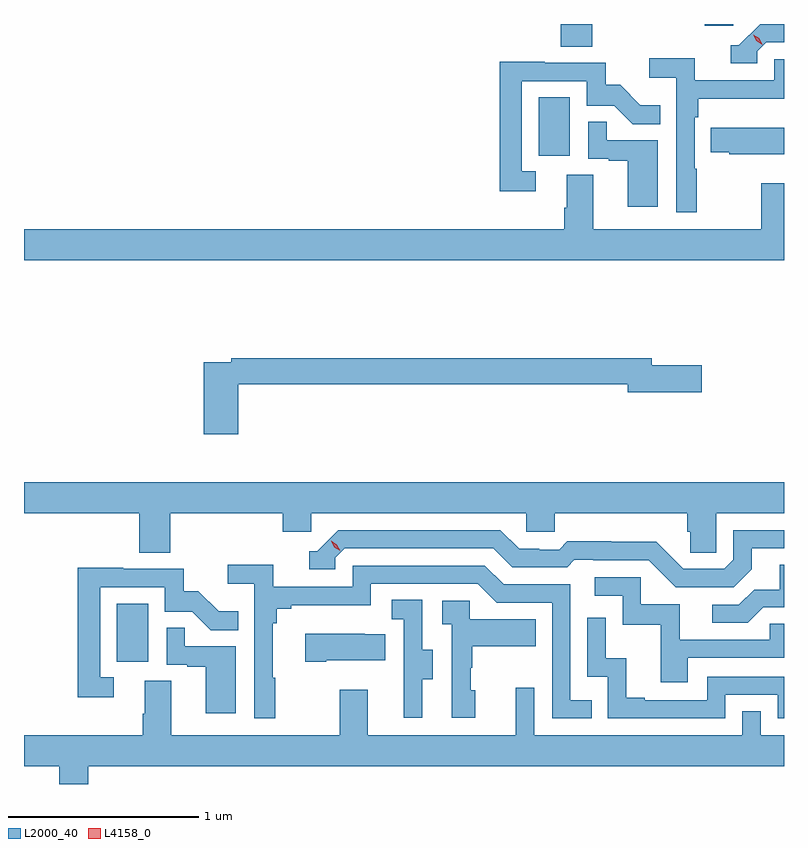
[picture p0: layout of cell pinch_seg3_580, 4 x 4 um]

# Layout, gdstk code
import gdstk
lib = gdstk.Library(unit=1e-6, precision=1e-09)
def R(c, l, rs):  # rectangles x0, y0, x1, y1
    for r in rs: c.add(gdstk.rectangle(r[:2], r[2:], *l))
def P(c, l, *ps):  # polygons
    for p in ps: c.add(gdstk.Polygon(p, *l))
L2000_40 = (2000, 40)
L4158_0 = (4158, 0)

pinch_seg3_580 = lib.new_cell('pinch_seg3_580')
R(pinch_seg3_580, L2000_40, [(1020.02,689.478,1020.184,689.785), (1022.24,692.142,1022.404,692.449), (1022.357,692.716,1022.522,692.835), (1023.113,692.826,1023.264,692.835)])
P(pinch_seg3_580, L2000_40, [(1023.39,692.691),(1023.438,692.739),(1023.531,692.739),(1023.531,692.835),(1023.405,692.835),(1023.294,692.724),(1023.251,692.724),(1023.251,692.628),(1023.39,692.628)],
  [(1023.073,692.072),(1023.06,692.072),(1023.06,692.345),(1023.08,692.345),(1023.08,692.441),(1023.531,692.441),(1023.531,692.649),(1023.48,692.649),(1023.48,692.538),(1023.062,692.538),(1023.062,692.654),(1022.823,692.654),(1022.823,692.552),(1022.964,692.552),(1022.964,691.845),(1023.073,691.845)],
  [(1022.224,692.061),(1022.151,692.061),(1022.151,692.535),(1022.493,692.535),(1022.493,692.406),(1022.637,692.406),(1022.735,692.308),(1022.879,692.308),(1022.879,692.407),(1022.775,692.407),(1022.668,692.514),(1022.592,692.514),(1022.592,692.631),(1022.273,692.631),(1022.273,692.636),(1022.035,692.636),(1022.035,691.956),(1022.224,691.956)],
  [(1022.866,692.223),(1022.597,692.223),(1022.597,692.321),(1022.502,692.321),(1022.502,692.127),(1022.609,692.127),(1022.609,692.115),(1022.708,692.115),(1022.708,691.872),(1022.866,691.872)],
  [(1023.531,692.29),(1023.145,692.29),(1023.145,692.161),(1023.243,692.161),(1023.243,692.15),(1023.531,692.15)],
  [(1023.531,691.996),(1023.412,691.996),(1023.412,691.756),(1022.527,691.756),(1022.527,692.042),(1022.387,692.042),(1022.387,691.868),(1022.375,691.868),(1022.375,691.756),(1019.531,691.756),(1019.531,691.592),(1023.531,691.592)],
  [(1020.659,690.94),(1022.708,690.94),(1022.708,690.898),(1023.097,690.898),(1023.097,691.04),(1022.836,691.04),(1022.836,691.076),(1020.622,691.076),(1020.622,691.056),(1020.476,691.056),(1020.476,690.675),(1020.659,690.675)],
  [(1020.302,690.26),(1020.893,690.26),(1020.893,690.162),(1021.044,690.162),(1021.044,690.26),(1022.175,690.26),(1022.175,690.162),(1022.325,690.162),(1022.325,690.26),(1023.023,690.26),(1023.023,690.162),(1023.037,690.162),(1023.037,690.052),(1023.174,690.052),(1023.174,690.26),(1023.531,690.26),(1023.531,690.424),(1019.531,690.424),(1019.531,690.26),(1020.137,690.26),(1020.137,690.052),(1020.302,690.052)],
  [(1023.361,689.965),(1023.361,690.075),(1023.531,690.075),(1023.531,690.171),(1023.264,690.171),(1023.264,690.015),(1023.216,689.967),(1023,689.967),(1022.858,690.109),(1022.622,690.109),(1022.622,690.112),(1022.389,690.112),(1022.347,690.069),(1022.244,690.069),(1022.244,690.072),(1022.137,690.072),(1022.038,690.171),(1021.185,690.171),(1021.074,690.06),(1021.031,690.06),(1021.031,689.964),(1021.17,689.964),(1021.17,690.027),(1021.218,690.075),(1022.001,690.075),(1022.1,689.976),(1022.389,689.976),(1022.428,690.015),(1022.527,690.015),(1022.527,690.012),(1022.82,690.012),(1022.961,689.871),(1023.267,689.871)],
  [(1020.853,689.393),(1020.841,689.393),(1020.841,689.681),(1020.86,689.681),(1020.86,689.758),(1020.937,689.758),(1020.937,689.777),(1021.356,689.777),(1021.356,689.889),(1021.92,689.889),(1022.019,689.79),(1022.31,689.79),(1022.31,689.181),(1022.519,689.181),(1022.519,689.277),(1022.406,689.277),(1022.406,689.886),(1022.056,689.886),(1021.957,689.985),(1021.26,689.985),(1021.26,689.874),(1020.842,689.874),(1020.842,689.99),(1020.603,689.99),(1020.603,689.888),(1020.744,689.888),(1020.744,689.181),(1020.853,689.181)],
  [(1023.421,689.766),(1023.531,689.766),(1023.531,689.99),(1023.509,689.99),(1023.509,689.858),(1023.374,689.858),(1023.294,689.778),(1023.153,689.778),(1023.153,689.685),(1023.34,689.685)],
  [(1020.004,689.397),(1019.931,689.397),(1019.931,689.871),(1020.273,689.871),(1020.273,689.742),(1020.417,689.742),(1020.515,689.644),(1020.659,689.644),(1020.659,689.743),(1020.555,689.743),(1020.448,689.85),(1020.372,689.85),(1020.372,689.967),(1020.053,689.967),(1020.053,689.972),(1019.815,689.972),(1019.815,689.292),(1020.004,689.292)],
  [(1023.025,689.499),(1023.531,689.499),(1023.531,689.679),(1023.457,689.679),(1023.457,689.595),(1022.983,689.595),(1022.983,689.781),(1022.778,689.781),(1022.778,689.922),(1022.535,689.922),(1022.535,689.826),(1022.682,689.826),(1022.682,689.673),(1022.881,689.673),(1022.881,689.37),(1023.025,689.37)],
  [(1021.627,689.386),(1021.681,689.386),(1021.681,689.541),(1021.626,689.541),(1021.626,689.804),(1021.467,689.804),(1021.467,689.701),(1021.53,689.701),(1021.53,689.397),(1021.529,689.397),(1021.529,689.184),(1021.627,689.184)],
  [(1021.906,689.328),(1021.881,689.328),(1021.881,689.447),(1021.891,689.447),(1021.891,689.561),(1022.225,689.561),(1022.225,689.701),(1021.878,689.701),(1021.878,689.799),(1021.731,689.799),(1021.731,689.675),(1021.782,689.675),(1021.782,689.184),(1021.906,689.184)],
  [(1023.222,689.304),(1023.498,689.304),(1023.498,689.181),(1023.531,689.181),(1023.531,689.4),(1023.126,689.4),(1023.126,689.277),(1022.797,689.277),(1022.797,689.29),(1022.702,689.29),(1022.702,689.498),(1022.592,689.498),(1022.592,689.71),(1022.496,689.71),(1022.496,689.4),(1022.604,689.4),(1022.604,689.181),(1023.222,689.181)],
  [(1020.646,689.559),(1020.377,689.559),(1020.377,689.657),(1020.282,689.657),(1020.282,689.463),(1020.389,689.463),(1020.389,689.451),(1020.488,689.451),(1020.488,689.208),(1020.646,689.208)],
  [(1021.123,689.486),(1021.433,689.486),(1021.433,689.623),(1021.325,689.623),(1021.325,689.626),(1021.011,689.626),(1021.011,689.479),(1021.123,689.479)],
  [(1019.87,688.928),(1023.531,688.928),(1023.531,689.092),(1023.408,689.092),(1023.408,689.219),(1023.312,689.219),(1023.312,689.092),(1022.217,689.092),(1022.217,689.341),(1022.12,689.341),(1022.12,689.092),(1021.339,689.092),(1021.339,689.332),(1021.192,689.332),(1021.192,689.092),(1020.307,689.092),(1020.307,689.378),(1020.167,689.378),(1020.167,689.204),(1020.155,689.204),(1020.155,689.092),(1019.531,689.092),(1019.531,688.928),(1019.717,688.928),(1019.717,688.835),(1019.87,688.835)])
P(pinch_seg3_580, L4158_0, [(1023.416,692.727),(1023.385,692.746),(1023.369,692.778),(1023.369,692.779),(1023.369,692.779),(1023.4,692.759),(1023.416,692.727),(1023.416,692.727)],
  [(1021.195,690.062),(1021.164,690.081),(1021.147,690.114),(1021.147,690.114),(1021.148,690.114),(1021.178,690.094),(1021.195,690.062),(1021.195,690.062)])

lib.write_gds('pinch_seg3_580.gds')
